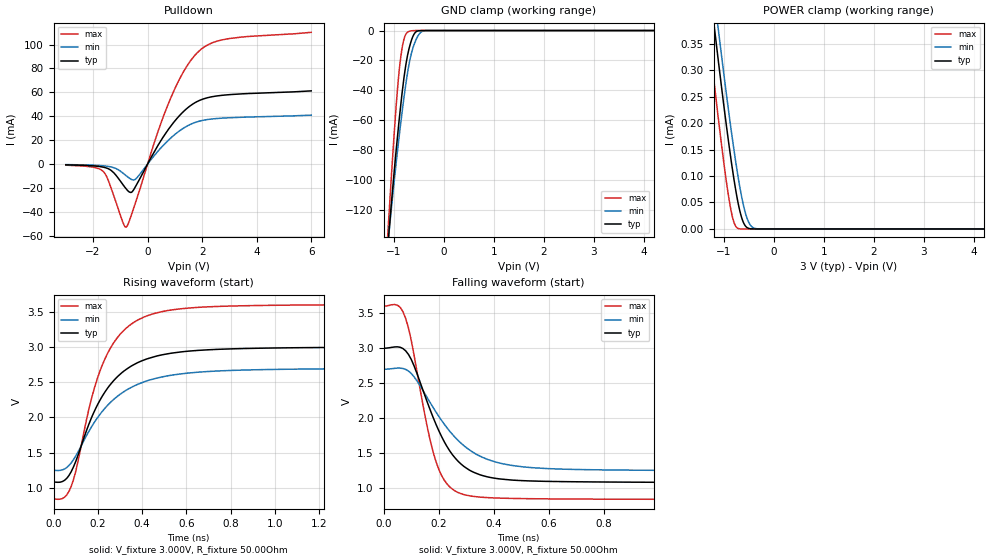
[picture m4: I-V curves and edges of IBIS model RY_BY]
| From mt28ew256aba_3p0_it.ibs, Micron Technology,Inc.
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|   Model RY_BY
[Model]   RY_BY
Model_type   Open_drain
Vmeas = 1.500V
Cref = 30.000pF
Rref = 2.500k
Vref = 3.000V
|   typ   min   max
C_comp   2.743pF   2.243pF   3.423pF
[Voltage Range]   3.000V   2.700V   3.600V
| Junction Temperature (Ambient temp is 35C typ, 85C min, -40C max)
[Temperature Range]   50.0   100.0   -40.0
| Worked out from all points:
|   slope of the pulldown table from 0 to 0.45 V, typ, clamps not added: 24.7 ohm
|   GND clamp passes 1 mA (typ) near -0.56 V on its own axis
|   POWER clamp passes 1 mA (typ) near -1.92 V on its own axis
|   falling waveform, V_fixture 3.000V, R_fixture 50.00Ohm: 20-80 % time 130ps typ, 175ps min, 85.6ps max; typ from 3 V to 1.08 V
|   rising waveform, V_fixture 3.000V, R_fixture 50.00Ohm: 20-80 % time 192ps typ, 227ps min, 158ps max; typ from 1.08 V to 3 V
[Pulldown]
|   Voltage   I(typ)   I(min)   I(max)
-3V       -668.5uA   -469.5uA   -965.4uA
-1.605V   -2.738mA   -1.553mA   -6.704mA
-1.236V   -7.409mA   -3.1mA     -26.86mA
-903mV    -17.3mA    -7.646mA   -49.08mA
-795mV    -20.55mA   -9.631mA   -52.86mA
-552mV    -22.84mA   -13.23mA   -39.8mA
303mV     12.52mA    8.671mA    22.01mA
825mV     30.95mA    21.27mA    54.09mA
1.356V    44.82mA    30.6mA     78.86mA
1.806V    52.2mA     35.3mA     92.83mA
2.832V    57.77mA    38.55mA    104.4mA
6V        61.26mA    40.95mA    110.3mA
[GND Clamp]
|   Voltage   I(typ)   I(min)   I(max)
-3V       -942.1mA   -871.6mA   -1.132A
-1.11V    -141mA     -141.1mA   -132mA
-1.074V   -126.7mA   -128.6mA   -112.6mA
-957mV    -82.53mA   -90.73mA   -53.61mA
-885mV    -58.2mA    -69.4mA    -25.45mA
-831mV    -41.72mA   -54.53mA   -11.7mA
-795mV    -31.9mA    -45.16mA   -5.935mA
-696mV    -12.68mA   -23.27mA   -634.8uA
-615mV    -3.937mA   -11.75mA   -77.55uA
-552mV    -865.6uA   -6.129mA   -11.56uA
-372mV    -5.758uA   -117.6uA   -217.9nA
6V        0A         0A         0A
[POWER Clamp]
|   Voltage   I(typ)   I(min)   I(max)
-3V       1.945mA    1.976mA    1.892mA
-1.317V   485.6uA    542.6uA    380.8uA
-1.2V     390.2uA    448.7uA    282.9uA
-1.164V   361.4uA    420.1uA    253.5uA
-1.11V    318.6uA    377.8uA    209.8uA
-876mV    145.2uA    203.3uA    45.66uA
-804mV    98.53uA    154.4uA    14.81uA
-723mV    53.5uA     103.9uA    1.415uA
-642mV    21.26uA    60.51uA    62.2nA
-552mV    4.018uA    25.12uA    1.36nA
-372mV    34.04nA    873nA      731.5pA
6V        0A         0A         0A
[Ramp]
R_load = 50.00Ohm
|   typ   min   max
dV/dt_r   1.150V/191.852ps 870.737mV/226.576ps   1.653V/158.204ps
dV/dt_f   1.150V/129.689ps 870.737mV/174.756ps   1.653V/85.572ps
[Falling Waveform]
V_fixture = 3.000V
V_fixture_min = 2.700V
V_fixture_max = 3.600V
R_fixture = 50.00Ohm
|   Time   V(typ)   V(min)   V(max)
0s        3V         2.7V       3.6V
50ps      3.021V     2.717V     3.615V
80ps      2.963V     2.698V     3.425V
170ps     2.109V     2.217V     1.668V
210ps     1.743V     1.972V     1.187V
270ps     1.388V     1.686V     941.4mV
340ps     1.21V      1.48V      879.8mV
510ps     1.11V      1.306V     854.5mV
860ps     1.09V      1.262V     846.2mV
7.5ns     1.083V     1.249V     844.4mV
[Rising Waveform]
V_fixture = 3.000V
V_fixture_min = 2.700V
V_fixture_max = 3.600V
R_fixture = 50.00Ohm
|   Time   V(typ)   V(min)   V(max)
0s        1.083V     1.249V     844.4mV
50ps      1.108V     1.268V     867.8mV
80ps      1.23V      1.355V     1.023V
100ps     1.371V     1.45V      1.23V
190ps     2.123V     1.956V     2.471V
270ps     2.514V     2.249V     3.049V
380ps     2.775V     2.468V     3.379V
570ps     2.925V     2.614V     3.537V
1.54ns    2.995V     2.693V     3.598V
7.5ns     3V         2.7V       3.6V
